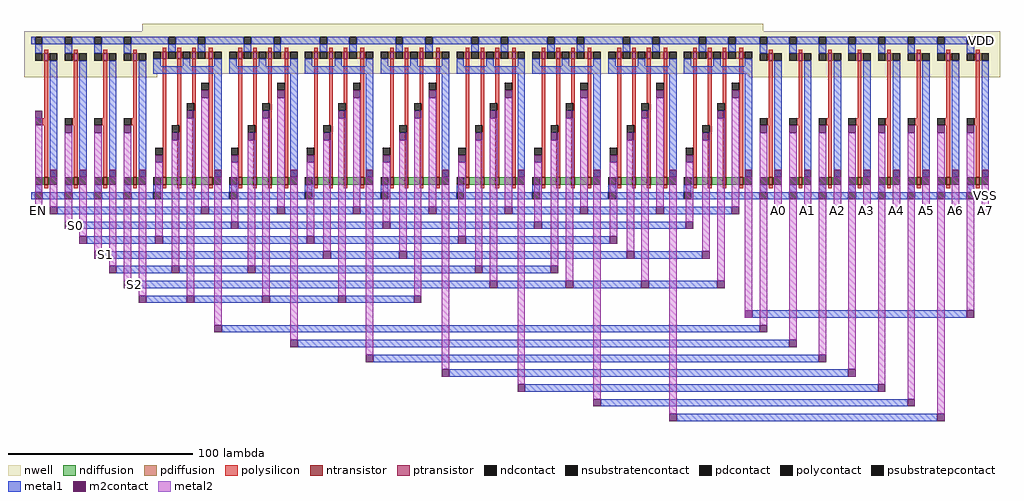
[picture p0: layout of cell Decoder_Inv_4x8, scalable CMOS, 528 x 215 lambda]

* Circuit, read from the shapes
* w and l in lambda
.subckt Decoder_Inv_4x8 A0 A1 A2 A3 A4 A5 A6 A7 EN S0 S1 S2 VDD VSS
M1 Decoder_4x8_0/NAND4_0/D EN VSS VSS nfet w=4 l=2
M2 Decoder_4x8_0/NAND4_0/A S0 VSS VSS nfet w=4 l=2
M3 Decoder_4x8_0/NAND4_0/B S1 VSS VSS nfet w=4 l=2
M4 Decoder_4x8_0/NAND4_0/C S2 VSS VSS nfet w=4 l=2
M5 n1 Decoder_4x8_0/NAND4_0/A VSS VSS nfet w=4 l=2
M6 n2 Decoder_4x8_0/NAND4_0/B n1 VSS nfet w=4 l=2
M7 n3 Decoder_4x8_0/NAND4_0/C n2 VSS nfet w=4 l=2
M8 INV_1/A Decoder_4x8_0/NAND4_0/D n3 VSS nfet w=4 l=2
M9 n4 S0 VSS VSS nfet w=4 l=2
M10 n5 Decoder_4x8_0/NAND4_0/B n4 VSS nfet w=4 l=2
M11 n6 Decoder_4x8_0/NAND4_0/C n5 VSS nfet w=4 l=2
M12 INV_2/A Decoder_4x8_0/NAND4_0/D n6 VSS nfet w=4 l=2
M13 n7 Decoder_4x8_0/NAND4_0/A VSS VSS nfet w=4 l=2
M14 n8 S1 n7 VSS nfet w=4 l=2
M15 n9 Decoder_4x8_0/NAND4_0/C n8 VSS nfet w=4 l=2
M16 INV_3/A Decoder_4x8_0/NAND4_0/D n9 VSS nfet w=4 l=2
M17 n10 S0 VSS VSS nfet w=4 l=2
M18 n11 S1 n10 VSS nfet w=4 l=2
M19 n12 Decoder_4x8_0/NAND4_0/C n11 VSS nfet w=4 l=2
M20 INV_4/A Decoder_4x8_0/NAND4_0/D n12 VSS nfet w=4 l=2
M21 n13 Decoder_4x8_0/NAND4_0/A VSS VSS nfet w=4 l=2
M22 n14 Decoder_4x8_0/NAND4_0/B n13 VSS nfet w=4 l=2
M23 n15 S2 n14 VSS nfet w=4 l=2
M24 INV_5/A Decoder_4x8_0/NAND4_0/D n15 VSS nfet w=4 l=2
M25 n16 S0 VSS VSS nfet w=4 l=2
M26 n17 Decoder_4x8_0/NAND4_0/B n16 VSS nfet w=4 l=2
M27 n18 S2 n17 VSS nfet w=4 l=2
M28 INV_6/A Decoder_4x8_0/NAND4_0/D n18 VSS nfet w=4 l=2
M29 n19 Decoder_4x8_0/NAND4_0/A VSS VSS nfet w=4 l=2
M30 n20 S1 n19 VSS nfet w=4 l=2
M31 n21 S2 n20 VSS nfet w=4 l=2
M32 INV_7/A Decoder_4x8_0/NAND4_0/D n21 VSS nfet w=4 l=2
M33 n22 S0 VSS VSS nfet w=4 l=2
M34 n23 S1 n22 VSS nfet w=4 l=2
M35 n24 S2 n23 VSS nfet w=4 l=2
M36 INV_0/A Decoder_4x8_0/NAND4_0/D n24 VSS nfet w=4 l=2
M37 A0 INV_1/A VSS VSS nfet w=4 l=2
M38 A1 INV_2/A VSS VSS nfet w=4 l=2
M39 A2 INV_3/A VSS VSS nfet w=4 l=2
M40 A3 INV_4/A VSS VSS nfet w=4 l=2
M41 A4 INV_5/A VSS VSS nfet w=4 l=2
M42 A5 INV_6/A VSS VSS nfet w=4 l=2
M43 A6 INV_7/A VSS VSS nfet w=4 l=2
M44 A7 INV_0/A VSS VSS nfet w=4 l=2
M45 Decoder_4x8_0/NAND4_0/D EN VDD VDD pfet w=4 l=2
M46 Decoder_4x8_0/NAND4_0/A S0 VDD VDD pfet w=4 l=2
M47 Decoder_4x8_0/NAND4_0/B S1 VDD VDD pfet w=4 l=2
M48 Decoder_4x8_0/NAND4_0/C S2 VDD VDD pfet w=4 l=2
M49 VDD Decoder_4x8_0/NAND4_0/A INV_1/A VDD pfet w=4 l=2
M50 INV_1/A Decoder_4x8_0/NAND4_0/B VDD VDD pfet w=4 l=2
M51 VDD Decoder_4x8_0/NAND4_0/C INV_1/A VDD pfet w=4 l=2
M52 INV_1/A Decoder_4x8_0/NAND4_0/D VDD VDD pfet w=4 l=2
M53 VDD S0 INV_2/A VDD pfet w=4 l=2
M54 INV_2/A Decoder_4x8_0/NAND4_0/B VDD VDD pfet w=4 l=2
M55 VDD Decoder_4x8_0/NAND4_0/C INV_2/A VDD pfet w=4 l=2
M56 INV_2/A Decoder_4x8_0/NAND4_0/D VDD VDD pfet w=4 l=2
M57 VDD Decoder_4x8_0/NAND4_0/A INV_3/A VDD pfet w=4 l=2
M58 INV_3/A S1 VDD VDD pfet w=4 l=2
M59 VDD Decoder_4x8_0/NAND4_0/C INV_3/A VDD pfet w=4 l=2
M60 INV_3/A Decoder_4x8_0/NAND4_0/D VDD VDD pfet w=4 l=2
M61 VDD S0 INV_4/A VDD pfet w=4 l=2
M62 INV_4/A S1 VDD VDD pfet w=4 l=2
M63 VDD Decoder_4x8_0/NAND4_0/C INV_4/A VDD pfet w=4 l=2
M64 INV_4/A Decoder_4x8_0/NAND4_0/D VDD VDD pfet w=4 l=2
M65 VDD Decoder_4x8_0/NAND4_0/A INV_5/A VDD pfet w=4 l=2
M66 INV_5/A Decoder_4x8_0/NAND4_0/B VDD VDD pfet w=4 l=2
M67 VDD S2 INV_5/A VDD pfet w=4 l=2
M68 INV_5/A Decoder_4x8_0/NAND4_0/D VDD VDD pfet w=4 l=2
M69 VDD S0 INV_6/A VDD pfet w=4 l=2
M70 INV_6/A Decoder_4x8_0/NAND4_0/B VDD VDD pfet w=4 l=2
M71 VDD S2 INV_6/A VDD pfet w=4 l=2
M72 INV_6/A Decoder_4x8_0/NAND4_0/D VDD VDD pfet w=4 l=2
M73 VDD Decoder_4x8_0/NAND4_0/A INV_7/A VDD pfet w=4 l=2
M74 INV_7/A S1 VDD VDD pfet w=4 l=2
M75 VDD S2 INV_7/A VDD pfet w=4 l=2
M76 INV_7/A Decoder_4x8_0/NAND4_0/D VDD VDD pfet w=4 l=2
M77 VDD S0 INV_0/A VDD pfet w=4 l=2
M78 INV_0/A S1 VDD VDD pfet w=4 l=2
M79 VDD S2 INV_0/A VDD pfet w=4 l=2
M80 INV_0/A Decoder_4x8_0/NAND4_0/D VDD VDD pfet w=4 l=2
M81 A0 INV_1/A VDD VDD pfet w=4 l=2
M82 A1 INV_2/A VDD VDD pfet w=4 l=2
M83 A2 INV_3/A VDD VDD pfet w=4 l=2
M84 A3 INV_4/A VDD VDD pfet w=4 l=2
M85 A4 INV_5/A VDD VDD pfet w=4 l=2
M86 A5 INV_6/A VDD VDD pfet w=4 l=2
M87 A6 INV_7/A VDD VDD pfet w=4 l=2
M88 A7 INV_0/A VDD VDD pfet w=4 l=2
.ends

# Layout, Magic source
magic
tech scmos
<< metal1 >>
rect 514 148 524 152
rect 515 64 524 68
rect 26 48 30 52
rect 42 32 46 36
rect 58 16 62 20
rect 394 0 510 4
rect 107 -8 398 -4
rect 148 -16 414 -12
rect 189 -24 430 -20
rect 230 -32 446 -28
rect 271 -40 462 -36
rect 312 -48 478 -44
rect 353 -56 494 -52
<< m2contact >>
rect 398 100 402 104
rect 414 100 418 104
rect 430 100 434 104
rect 446 100 450 104
rect 462 100 466 104
rect 478 100 482 104
rect 494 100 498 104
rect 510 100 514 104
rect 406 76 410 80
rect 422 76 426 80
rect 438 76 442 80
rect 454 76 458 80
rect 470 76 474 80
rect 486 76 490 80
rect 502 76 506 80
rect 518 76 522 80
rect 390 0 394 4
rect 510 0 514 4
rect 103 -8 107 -4
rect 398 -8 402 -4
rect 144 -16 148 -12
rect 414 -16 418 -12
rect 185 -24 189 -20
rect 430 -24 434 -20
rect 226 -32 230 -28
rect 446 -32 450 -28
rect 267 -40 271 -36
rect 462 -40 466 -36
rect 308 -48 312 -44
rect 478 -48 482 -44
rect 349 -56 353 -52
rect 494 -56 498 -52
<< metal2 >>
rect 6 56 10 60
rect 103 -4 107 0
rect 144 -12 148 0
rect 185 -20 189 0
rect 226 -28 230 0
rect 267 -36 271 0
rect 308 -44 312 0
rect 349 -52 353 1
rect 398 -4 402 100
rect 406 56 410 76
rect 414 -12 418 100
rect 422 56 426 76
rect 430 -20 434 100
rect 438 56 442 76
rect 446 -28 450 100
rect 454 56 458 76
rect 462 -36 466 100
rect 470 56 474 76
rect 478 -44 482 100
rect 486 56 490 76
rect 494 -52 498 100
rect 502 56 506 76
rect 510 4 514 100
rect 518 56 522 76
use INV  INV_7
transform 1 0 492 0 1 64
box -4 0 20 91
use INV  INV_6
transform 1 0 476 0 1 64
box -4 0 20 91
use INV  INV_5
transform 1 0 460 0 1 64
box -4 0 20 91
use INV  INV_4
transform 1 0 444 0 1 64
box -4 0 20 91
use INV  INV_3
transform 1 0 428 0 1 64
box -4 0 20 91
use INV  INV_2
transform 1 0 412 0 1 64
box -4 0 20 91
use INV  INV_1
transform 1 0 396 0 1 64
box -4 0 20 91
use INV  INV_0
transform 1 0 508 0 1 64
box -4 0 20 91
use Decoder_4x8  Decoder_4x8_0
transform 1 0 64 0 1 64
box -64 -64 336 95
<< labels >>
rlabel metal2 408 58 408 58 1 A0
rlabel metal2 424 58 424 58 1 A1
rlabel metal2 440 58 440 58 1 A2
rlabel metal2 456 58 456 58 1 A3
rlabel metal2 472 58 472 58 1 A4
rlabel metal2 488 58 488 58 1 A5
rlabel metal2 504 58 504 58 1 A6
rlabel metal2 520 58 520 58 1 A7
rlabel metal1 520 66 520 66 1 VSS
rlabel metal1 518 150 518 150 1 VDD
rlabel metal2 8 58 8 58 1 EN
rlabel metal1 28 50 28 50 1 S0
rlabel metal1 44 34 44 34 1 S1
rlabel metal1 60 18 60 18 1 S2
<< end >>

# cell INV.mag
magic
tech scmos
<< nwell >>
rect -4 66 20 91
<< ntransistor >>
rect 7 8 9 12
<< ptransistor >>
rect 7 75 9 79
<< ndiffusion >>
rect 6 8 7 12
rect 9 8 10 12
<< pdiffusion >>
rect 6 75 7 79
rect 9 75 10 79
<< ndcontact >>
rect 2 8 6 12
rect 10 8 14 12
<< pdcontact >>
rect 2 75 6 79
rect 10 75 14 79
<< psubstratepcontact >>
rect 2 0 6 4
<< nsubstratencontact >>
rect 2 84 6 88
<< polysilicon >>
rect 7 79 9 81
rect 7 44 9 75
rect 6 40 9 44
rect 7 12 9 40
rect 7 6 9 8
<< polycontact >>
rect 2 40 6 44
<< metal1 >>
rect 0 84 2 88
rect 6 84 16 88
rect 2 79 6 84
rect 10 12 14 75
rect 2 4 6 8
rect 0 0 2 4
rect 6 0 16 4
<< labels >>
rlabel metal1 1 2 1 2 2 VSS
rlabel metal1 12 17 12 17 1 Y
rlabel metal1 1 86 1 86 4 VDD
rlabel polycontact 4 42 4 42 1 A
<< end >>

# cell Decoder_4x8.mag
magic
tech scmos
<< metal1 >>
rect -54 84 -42 88
rect -54 0 -42 4
rect -46 -8 32 -4
rect 36 -8 73 -4
rect 77 -8 114 -4
rect 118 -8 155 -4
rect 159 -8 196 -4
rect 200 -8 237 -4
rect 241 -8 278 -4
rect 282 -8 319 -4
rect -38 -16 48 -12
rect 52 -16 130 -12
rect 134 -16 212 -12
rect 216 -16 294 -12
rect -30 -24 7 -20
rect 11 -24 89 -20
rect 93 -24 171 -20
rect 175 -24 253 -20
rect -22 -32 98 -28
rect 102 -32 139 -28
rect 143 -32 262 -28
rect 266 -32 303 -28
rect -14 -40 16 -36
rect 20 -40 57 -36
rect 61 -40 180 -36
rect 184 -40 221 -36
rect -6 -48 188 -44
rect 192 -48 229 -44
rect 233 -48 270 -44
rect 274 -48 311 -44
rect 2 -56 24 -52
rect 28 -56 65 -52
rect 69 -56 106 -52
rect 110 -56 147 -52
<< m2contact >>
rect 32 55 36 59
rect 73 55 77 59
rect 114 55 118 59
rect 155 55 159 59
rect 196 55 200 59
rect 237 55 241 59
rect 278 55 282 59
rect 319 55 323 59
rect -58 44 -54 48
rect 24 44 28 48
rect 65 44 69 48
rect 106 44 110 48
rect 147 44 151 48
rect 188 44 192 48
rect 229 44 233 48
rect 270 44 274 48
rect 311 44 315 48
rect -42 36 -38 40
rect -26 36 -22 40
rect -10 36 -6 40
rect 16 32 20 36
rect 57 32 61 36
rect 98 32 102 36
rect 139 32 143 36
rect 180 32 184 36
rect 221 32 225 36
rect 262 32 266 36
rect 303 32 307 36
rect 7 20 11 24
rect 48 20 52 24
rect 89 20 93 24
rect 130 20 134 24
rect 171 20 175 24
rect 212 20 216 24
rect 253 20 257 24
rect 294 20 298 24
rect -50 12 -46 16
rect -34 12 -30 16
rect -18 12 -14 16
rect -2 12 2 16
rect 39 12 43 16
rect 80 12 84 16
rect 121 12 125 16
rect 162 12 166 16
rect 203 12 207 16
rect 244 12 248 16
rect 285 12 289 16
rect 326 12 330 16
rect -50 -8 -46 -4
rect 32 -8 36 -4
rect 73 -8 77 -4
rect 114 -8 118 -4
rect 155 -8 159 -4
rect 196 -8 200 -4
rect 237 -8 241 -4
rect 278 -8 282 -4
rect 319 -8 323 -4
rect -42 -16 -38 -12
rect 48 -16 52 -12
rect 130 -16 134 -12
rect 212 -16 216 -12
rect 294 -16 298 -12
rect -34 -24 -30 -20
rect 7 -24 11 -20
rect 89 -24 93 -20
rect 171 -24 175 -20
rect 253 -24 257 -20
rect -26 -32 -22 -28
rect 98 -32 102 -28
rect 139 -32 143 -28
rect 262 -32 266 -28
rect 303 -32 307 -28
rect -18 -40 -14 -36
rect 16 -40 20 -36
rect 57 -40 61 -36
rect 180 -40 184 -36
rect 221 -40 225 -36
rect -10 -48 -6 -44
rect 188 -48 192 -44
rect 229 -48 233 -44
rect 270 -48 274 -44
rect 311 -48 315 -44
rect -2 -56 2 -52
rect 24 -56 28 -52
rect 65 -56 69 -52
rect 106 -56 110 -52
rect 147 -56 151 -52
<< metal2 >>
rect -58 -8 -54 44
rect -50 -4 -46 12
rect -42 -12 -38 36
rect -34 -20 -30 12
rect -26 -28 -22 36
rect -18 -36 -14 12
rect -10 -44 -6 36
rect -2 -52 2 12
rect 7 -20 11 20
rect 16 -36 20 32
rect 24 -52 28 44
rect 32 -4 36 55
rect 39 -64 43 12
rect 48 -12 52 20
rect 57 -36 61 32
rect 65 -52 69 44
rect 73 -4 77 55
rect 80 -64 84 12
rect 89 -20 93 20
rect 98 -28 102 32
rect 106 -52 110 44
rect 114 -4 118 55
rect 121 -64 125 12
rect 130 -12 134 20
rect 139 -28 143 32
rect 147 -52 151 44
rect 155 -4 159 55
rect 162 -64 166 12
rect 171 -20 175 20
rect 180 -36 184 32
rect 188 -44 192 44
rect 196 -4 200 55
rect 203 -64 207 12
rect 212 -12 216 20
rect 221 -36 225 32
rect 229 -44 233 44
rect 237 -4 241 55
rect 244 -64 248 12
rect 253 -20 257 20
rect 262 -28 266 32
rect 270 -44 274 44
rect 278 -4 282 55
rect 285 -64 289 12
rect 294 -12 298 20
rect 303 -28 307 32
rect 311 -44 315 44
rect 319 -4 323 55
rect 326 -64 330 12
use INV  INV_0
transform 1 0 -60 0 1 0
box -4 0 20 91
use INV  INV_1
transform 1 0 -44 0 1 0
box -4 0 20 91
use INV  INV_2
transform 1 0 -28 0 1 0
box -4 0 20 91
use INV  INV_3
transform 1 0 -12 0 1 0
box -4 0 20 91
use NAND4  NAND4_0
transform 1 0 4 0 1 0
box -4 0 45 95
use NAND4  NAND4_1
transform 1 0 45 0 1 0
box -4 0 45 95
use NAND4  NAND4_2
transform 1 0 86 0 1 0
box -4 0 45 95
use NAND4  NAND4_3
transform 1 0 127 0 1 0
box -4 0 45 95
use NAND4  NAND4_4
transform 1 0 168 0 1 0
box -4 0 45 95
use NAND4  NAND4_5
transform 1 0 209 0 1 0
box -4 0 45 95
use NAND4  NAND4_6
transform 1 0 250 0 1 0
box -4 0 45 95
use NAND4  NAND4_7
transform 1 0 291 0 1 0
box -4 0 45 95
<< labels >>
rlabel metal2 -56 -6 -56 -6 1 EN
rlabel metal1 -36 -14 -36 -14 1 S0
rlabel metal1 -20 -30 -20 -30 1 S1
rlabel metal1 -4 -46 -4 -46 1 S2
rlabel metal2 41 -62 41 -62 1 A0
rlabel metal2 82 -62 82 -62 1 A1
rlabel metal2 123 -62 123 -62 1 A2
rlabel metal2 164 -62 164 -62 1 A3
rlabel metal2 205 -62 205 -62 1 A4
rlabel metal2 246 -62 246 -62 1 A5
rlabel metal2 287 -62 287 -62 1 A6
rlabel metal2 328 -62 328 -62 1 A7
rlabel metal1 -52 2 -52 2 1 VSS
rlabel metal1 -49 86 -49 86 1 VDD
<< end >>

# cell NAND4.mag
magic
tech scmos
<< nwell >>
rect -4 68 45 95
<< ntransistor >>
rect 7 8 9 12
rect 15 8 17 12
rect 23 8 25 12
rect 32 8 34 12
<< ptransistor >>
rect 7 76 9 80
rect 15 76 17 80
rect 23 76 25 80
rect 32 76 34 80
<< ndiffusion >>
rect 6 8 7 12
rect 9 8 15 12
rect 17 8 23 12
rect 25 8 32 12
rect 34 8 35 12
<< pdiffusion >>
rect 6 76 7 80
rect 9 76 10 80
rect 14 76 15 80
rect 17 76 18 80
rect 22 76 23 80
rect 25 76 26 80
rect 30 76 32 80
rect 34 76 35 80
<< ndcontact >>
rect 2 8 6 12
rect 35 8 39 12
<< pdcontact >>
rect 2 76 6 80
rect 10 76 14 80
rect 18 76 22 80
rect 26 76 30 80
rect 35 76 39 80
<< psubstratepcontact >>
rect 2 0 6 4
<< nsubstratencontact >>
rect 10 84 14 88
rect 26 84 30 88
<< polysilicon >>
rect 7 80 9 82
rect 15 80 17 82
rect 23 80 25 82
rect 32 80 34 82
rect 7 12 9 76
rect 15 40 17 76
rect 23 52 25 76
rect 24 48 25 52
rect 16 36 17 40
rect 15 12 17 36
rect 23 12 25 48
rect 32 12 34 76
rect 7 6 9 8
rect 15 6 17 8
rect 23 6 25 8
rect 32 6 34 8
<< polycontact >>
rect 3 24 7 28
rect 28 59 32 63
rect 20 48 24 52
rect 12 36 16 40
<< metal1 >>
rect 0 84 10 88
rect 14 84 26 88
rect 30 84 41 88
rect 10 80 14 84
rect 26 80 30 84
rect 2 72 6 76
rect 18 72 22 76
rect 35 72 39 76
rect 2 68 39 72
rect 35 12 39 68
rect 2 4 6 8
rect 0 0 2 4
rect 6 0 41 4
<< labels >>
rlabel nsubstratencontact 12 86 12 86 1 VDD
rlabel nsubstratencontact 28 86 28 86 1 VDD
rlabel polycontact 5 26 5 26 1 A
rlabel polycontact 14 38 14 38 1 B
rlabel polycontact 22 50 22 50 1 C
rlabel polycontact 30 61 30 61 1 D
rlabel metal1 37 38 37 38 1 Y
rlabel psubstratepcontact 4 2 4 2 1 VSS
<< end >>
